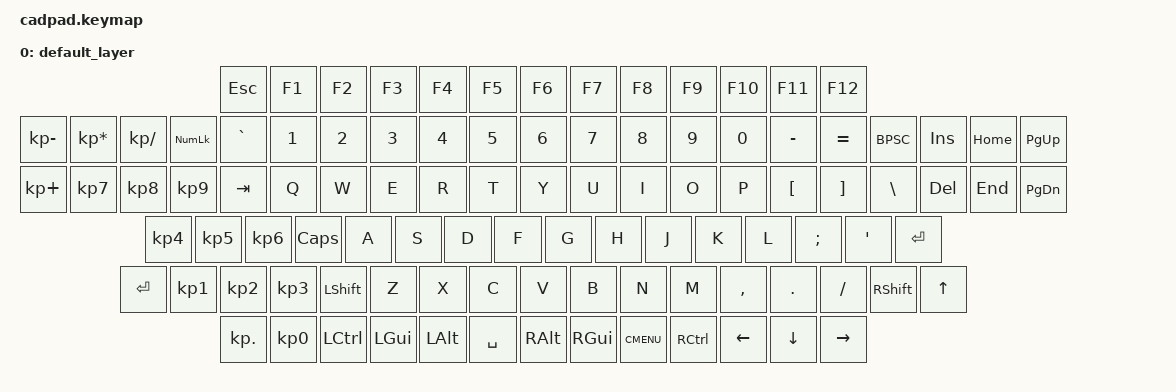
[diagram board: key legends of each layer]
/*
 * Copyright (c) 2021 Nick Winans
 *
 * SPDX-License-Identifier: MIT
 */

#include <dt-bindings/zmk/keys.h>
#include <dt-bindings/zmk/bt.h>

/ {
    keymap {
        compatible = "zmk,keymap";

        default_layer {
//                         | ESC | F1  | F2  | F3  | F4  | F5  | F6  | F7  | F8  | F9  | F10 | F11 | F12 |
// |  -  |  *  |  /  | NLK |  `  |  1  |  2  |  3  |  4  |  5  |  6  |  7  |  8  |  9  |  0  |  -  |  =  | BKS | INS | HOM | PGU |
// |  +  |  7  |  8  |  9  | TAB |  Q  |  W  |  E  |  R  |  T  |  Y  |  U  |  I  |  O  |  P  |  [  |  ]  |  \  | DEL | END | PGD |
//       |  4  |  5  |  6  | CAP |  A  |  S  |  D  |  F  |  G  |  H  |  J  |  K  |  L  |  ;  |  '  | ENT |
// | ENT |  1  |  2  |  3  | LSH |  Z  |  X  |  C  |  V  |  B  |  N  |  M  |  ,  |  .  |  /  | RSH | UP  |
// |  .  |  0  | LCT | LWN | LAL | SPC | RAL | RWN | MEN | RCT | LFT | DWN | RGT |
           
          bindings = <
                &kp ESC   &kp F1    &kp F2   &kp F3    &kp F4    &kp F5 &kp F6 &kp F7 &kp F8 &kp F9 &kp F10 &kp F11 &kp F12
                &kp KP_MINUS &kp KP_ASTERISK &kp KP_DIVIDE &kp KP_NLCK &kp GRAVE  &kp N1 &kp N2 &kp N3 &kp N4 &kp N5 &kp N6  &kp N7  &kp N8  &kp N9 &kp N0 &kp MINUS &kp EQUAL &kp BPSC &kp INS &kp HOME &kp PG_UP
                &kp KP_PLUS  &kp KP_N7    &kp KP_N8   &kp KP_N9    &kp TAB   &kp Q  &kp W  &kp E  &kp R  &kp T  &kp Y   &kp U   &kp I   &kp O  &kp P  &kp LBKT  &kp RBKT  &kp BSLH &kp DEL &kp END  &kp PG_DN
                &kp KP_N4    &kp KP_N5    &kp KP_N6   &kp CLCK  &kp A     &kp S  &kp D  &kp F  &kp G  &kp H  &kp J   &kp K   &kp L   &kp SEMI      &kp SQT   &kp RET
                &kp RET   &kp KP_N1    &kp KP_N2   &kp KP_N3  &kp LSHFT  &kp Z  &kp X  &kp C  &kp V  &kp B  &kp N  &kp M  &kp COMMA  &kp DOT  &kp FSLH  &kp RSHFT  &kp UP
                &kp KP_DOT   &kp KP_N0    &kp LCTRL  &kp LGUI  &kp LALT  &kp SPACE  &kp RALT  &kp RGUI  &kp K_CMENU  &kp RCTRL  &kp LEFT  &kp DOWN  &kp RIGHT
            >;
        };
    };
};
